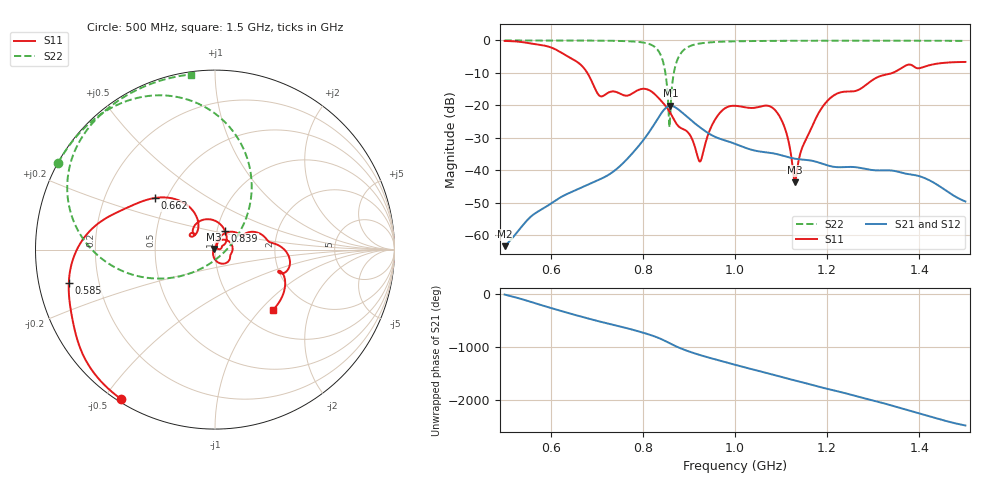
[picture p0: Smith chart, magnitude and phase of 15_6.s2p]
! TOUCHSTONE file generated by CST MICROWAVE STUDIO
! Date and time: Sat Oct 24 11:44:53 2020
! Project name: Scenario_1_Circular_Tissue_out_of_Line.cst
! Parameters = {dy1=-103.226; L_HA=400; MT=2.54; Rad_Dielectric=30; Rad_Lower=7.3; Rad_Upper=30; a_HA=580; a_WG=246; b_HA=500; b_WG=121; c_HA=0; c_WG=187; d_feed=85; dx1=1039; h_feed=15; h_lower=18; h_upper=40}
! Header version: 2018
! Port assignment regex: !\s*Touchstone port\s*([0-9]+)\s*=\s*(CST MWS port|CST DS port)\s*([0-9]+|Zmin|Zmax)\s*\(\"(.*)\"\)(\s*mode\s*([0-9]+))?.*
! Touchstone port assignment:
! Touchstone port 1 = CST MWS port 1 ("")
! Touchstone port 2 = CST MWS port 2 ("")
# GHz S DB R 50
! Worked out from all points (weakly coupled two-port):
!   1001 points, 500 MHz to 1.5 GHz, reference 50 ohm
!   highest |S21| = -20.15 dB at 860 MHz (marker M1); lowest = -63.4 dB at 500 MHz (marker M2)
!   lowest |S11| = -43.7 dB at 1.13 GHz (marker M3), VSWR 1.01, Z = 49.4 + j0.278 ohm
!   |S11| at or under -10 dB: 679.5 MHz to 1.342 GHz (662.5 MHz wide, 65.6 % of centre)
!   |S22| runs from -26.8 to 0.0 dB; largest |S21 - S12| = 5e-06
!   S11 on the Smith chart (normalised r, x): 500 MHz: 0.01, -0.55; 585 MHz: 0.09, -0.11; 662 MHz: 0.43, +0.31; 839 MHz: 1.09, +0.23; 1.5 GHz: 1.37, -1.18
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0.5  -0.15 -122.3  -63.39 -2.8  -63.39 -2.8  -0.01 151.2
0.585  -1.56 -167.0  -51.68 142.1  -51.68 142.1  -0.02 145.3
0.662  -7.10 139.4  -45.64 -50.6  -45.64 -50.6  -0.04 138.9
0.667  -7.73 134.9  -45.31 -62.5  -45.31 -62.5  -0.04 138.4
0.708  -17.21 138.3  -42.71 -157.6  -42.71 -157.6  -0.07 133.9
0.789  -15.35 134.8  -32.85 24.2  -32.85 24.2  -0.44 117.4
0.834  -17.72 69.3  -23.74 -103.9  -23.74 -103.9  -3.27 83.1
0.839  -18.49 62.6  -22.66 -122.5  -22.66 -122.5  -4.58 74.8
0.855  -21.26 41.4  -20.31 169.6  -20.31 169.6  -19.18 22.9
0.86  -22.41 35.2  -20.15 147.3  -20.15 147.3  -20.84 -113.7
0.868  -24.49 28.7  -20.43 112.8  -20.43 112.8  -9.48 -151.3
0.878  -26.53 27.5  -21.36 73.5  -21.36 73.5  -5.00 -169.6
0.924  -37.32 39.4  -26.78 -68.1  -26.78 -68.1  -0.94 156.5
0.959  -23.88 56.6  -29.85 -154.2  -29.85 -154.2  -0.47 147.1
1  -20.14 3.8  -31.85 107.8  -31.85 107.8  -0.28 140.3
1.088  -21.63 -68.3  -34.93 -93.2  -34.93 -93.2  -0.13 130.8
1.111  -28.24 -102.9  -35.80 -146.5  -35.80 -146.5  -0.12 128.8
1.13  -43.69 154.6  -36.44 171.7  -36.44 171.7  -0.11 127.2
1.167  -26.58 71.5  -37.07 87.3  -37.07 87.3  -0.10 124.2
1.213  -17.07 45.2  -38.91 -14.6  -38.91 -14.6  -0.09 120.7
1.334  -10.35 8.3  -40.03 71.5  -40.03 71.5  -0.09 111.5
1.5  -6.63 -46.2  -49.62 38.9  -49.63 38.9  -0.13 97.9
